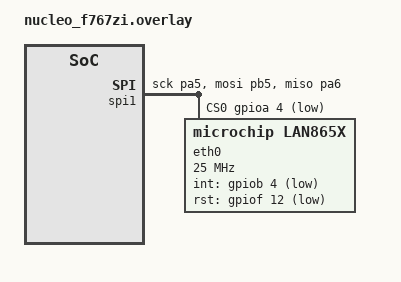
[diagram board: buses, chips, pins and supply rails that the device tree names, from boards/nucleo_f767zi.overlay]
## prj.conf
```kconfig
# Generic networking options
CONFIG_NETWORKING=y
CONFIG_NET_UDP=y
CONFIG_NET_TCP=y
CONFIG_NET_IPV6=y
CONFIG_NET_IPV4=y
CONFIG_NET_SOCKETS=y
CONFIG_ZVFS_POLL_MAX=5
CONFIG_NET_CONNECTION_MANAGER=y

CONFIG_POSIX_API=y

# Kernel options
CONFIG_MAIN_STACK_SIZE=2048
CONFIG_ENTROPY_GENERATOR=y
CONFIG_TEST_RANDOM_GENERATOR=y
CONFIG_INIT_STACKS=y
CONFIG_MAX_THREAD_BYTES=3

# Logging
CONFIG_NET_LOG=y
CONFIG_LOG=y
CONFIG_NET_STATISTICS=y
CONFIG_PRINTK=y

# Network buffers
CONFIG_NET_PKT_RX_COUNT=16
CONFIG_NET_PKT_TX_COUNT=16
CONFIG_NET_BUF_RX_COUNT=80
CONFIG_NET_BUF_TX_COUNT=80
CONFIG_NET_CONTEXT_NET_PKT_POOL=y

# IP address options
CONFIG_NET_IF_UNICAST_IPV6_ADDR_COUNT=3
CONFIG_NET_IF_MCAST_IPV6_ADDR_COUNT=4
CONFIG_NET_MAX_CONTEXTS=10
CONFIG_NET_IF_MAX_IPV6_COUNT=3
CONFIG_NET_IF_MAX_IPV4_COUNT=3

# Network shell
CONFIG_NET_SHELL=y

# The addresses are selected so that qemu<->qemu connectivity works ok.
# For linux<->qemu connectivity, create a new conf file and swap the
# addresses (so that peer address is ending to 2).
CONFIG_NET_CONFIG_SETTINGS=y
CONFIG_NET_CONFIG_NEED_IPV6=y
CONFIG_NET_CONFIG_MY_IPV6_ADDR="2001:db8::2"
CONFIG_NET_CONFIG_PEER_IPV6_ADDR="2001:db8::1"
CONFIG_NET_CONFIG_NEED_IPV4=y
CONFIG_NET_CONFIG_MY_IPV4_ADDR="192.0.2.2"
CONFIG_NET_CONFIG_PEER_IPV4_ADDR="192.0.2.1"
CONFIG_SYSTEM_WORKQUEUE_STACK_SIZE=2048
```

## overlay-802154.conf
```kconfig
CONFIG_BT=n

# Disable TCP and IPv4 (TCP disabled to avoid heavy traffic)
CONFIG_NET_TCP=y
CONFIG_NET_IPV4=y

CONFIG_NET_CONFIG_NEED_IPV6=n
CONFIG_NET_CONFIG_NEED_IPV4=y
CONFIG_NET_CONFIG_MY_IPV4_ADDR="192.168.3.3"
CONFIG_NET_CONFIG_PEER_IPV4_ADDR="192.168.3.1"
CONFIG_NET_CONFIG_MY_IPV6_ADDR=""
CONFIG_NET_CONFIG_PEER_IPV6_ADDR=""

CONFIG_NET_L2_IEEE802154=y
CONFIG_NET_L2_IEEE802154_SHELL=y
CONFIG_NET_L2_IEEE802154_LOG_LEVEL_INF=y

CONFIG_NET_CONFIG_IEEE802154_CHANNEL=26
```

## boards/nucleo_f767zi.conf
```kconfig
# Generic networking options
CONFIG_NETWORKING=y
CONFIG_NET_UDP=n
CONFIG_NET_TCP=y
CONFIG_NET_IPV6=n
CONFIG_NET_IPV4=y
CONFIG_NET_SOCKETS=y
CONFIG_POSIX_API=y
CONFIG_NET_CONNECTION_MANAGER=y

# Kernel options
CONFIG_MAIN_STACK_SIZE=2048
CONFIG_ENTROPY_GENERATOR=y
CONFIG_TEST_RANDOM_GENERATOR=y
CONFIG_INIT_STACKS=y

# Logging
CONFIG_NET_LOG=y
CONFIG_LOG=y
CONFIG_NET_STATISTICS=y
CONFIG_PRINTK=y

# Network buffers
CONFIG_NET_PKT_RX_COUNT=4
CONFIG_NET_PKT_TX_COUNT=4
CONFIG_NET_BUF_RX_COUNT=32
CONFIG_NET_BUF_TX_COUNT=32
CONFIG_NET_CONTEXT_NET_PKT_POOL=y

# IP address options
# CONFIG_NET_MAX_CONTEXTS=2
# CONFIG_NET_MAX_CONN=2

# Network shell
CONFIG_SERIAL=y
CONFIG_SHELL=y
CONFIG_SHELL_BACKEND_SERIAL=y
CONFIG_NET_SHELL=y

# Network application options and configuration
CONFIG_NET_CONFIG_SETTINGS=y
CONFIG_NET_CONFIG_NEED_IPV4=y
CONFIG_NET_CONFIG_NEED_IPV6=n
CONFIG_NET_CONFIG_MY_IPV4_NETMASK="255.255.255.0"
CONFIG_NET_CONFIG_MY_IPV4_ADDR="192.0.2.2"
CONFIG_NET_CONFIG_PEER_IPV4_ADDR="192.0.2.1"
CONFIG_NET_CONFIG_AUTO_INIT=y

# LAN865x T1S driver specific
CONFIG_NET_L2_ETHERNET=y
# CONFIG_NET_PROMISCUOUS_MODE=y
CONFIG_ETH_LAN865X=y
# CONFIG_ETH_LAN865X_LOG_LEVEL=4
CONFIG_NET_BUF_DATA_SIZE=128

# Debug options
CONFIG_DEBUG_THREAD_INFO=y
```

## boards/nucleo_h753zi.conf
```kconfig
# # Generic networking options
# CONFIG_NETWORKING=y
# CONFIG_NET_UDP=y
# CONFIG_NET_TCP=y
# CONFIG_NET_IPV6=n
# CONFIG_NET_IPV4=y
# CONFIG_NET_DHCPV4=y
# CONFIG_NET_SOCKETS=y
# CONFIG_NET_CONNECTION_MANAGER=y

# # Kernel options
# CONFIG_MAIN_STACK_SIZE=2048
# CONFIG_ENTROPY_GENERATOR=y
# CONFIG_TEST_RANDOM_GENERATOR=y
# CONFIG_INIT_STACKS=y

# # Logging
# CONFIG_NET_LOG=y
# CONFIG_LOG=y
# CONFIG_NET_STATISTICS=y

# # Network buffers
# CONFIG_NET_PKT_RX_COUNT=4
# CONFIG_NET_PKT_TX_COUNT=4
# CONFIG_NET_BUF_RX_COUNT=32
# CONFIG_NET_BUF_TX_COUNT=32
# CONFIG_NET_CONTEXT_NET_PKT_POOL=y

# # IP address options
# CONFIG_NET_MAX_CONTEXTS=2
# CONFIG_NET_MAX_CONN=2

# # Network shell
# CONFIG_NET_SHELL=n
# CONFIG_SHELL=n

# # Network application options and configuration
# CONFIG_NET_CONFIG_SETTINGS=y
# CONFIG_NET_CONFIG_NEED_IPV4=y
# CONFIG_NET_CONFIG_MY_IPV4_ADDR="192.168.3.3"
# CONFIG_NET_CONFIG_PEER_IPV4_ADDR="192.168.3.1"

# CONFIG_SPI=y
# CONFIG_GPIO=y
# CONFIG_MDIO=y

# # LAN865x T1S driver specific
# CONFIG_NET_L2_ETHERNET=y
# # CONFIG_NET_PROMISCUOUS_MODE=y
# CONFIG_ETH_LAN865X=y
# CONFIG_MDIO_LAN865X=y
# CONFIG_NET_BUF_DATA_SIZE=64


# # For setting MAC address
# CONFIG_NET_L2_ETHERNET_MGMT=y

# # Debug options
# CONFIG_DEBUG_THREAD_INFO=y

# Generic networking options
CONFIG_NETWORKING=y
CONFIG_NET_UDP=y
CONFIG_NET_TCP=y
CONFIG_NET_IPV6=n
CONFIG_NET_IPV4=y
CONFIG_NET_SOCKETS=y
CONFIG_POSIX_API=y
CONFIG_NET_CONNECTION_MANAGER=y

# Kernel options
CONFIG_MAIN_STACK_SIZE=2048
CONFIG_ENTROPY_GENERATOR=y
CONFIG_TEST_RANDOM_GENERATOR=y
CONFIG_INIT_STACKS=y

# Logging
CONFIG_NET_LOG=y
CONFIG_LOG=y
CONFIG_NET_STATISTICS=y
CONFIG_PRINTK=y

# Network buffers
CONFIG_NET_PKT_RX_COUNT=4
CONFIG_NET_PKT_TX_COUNT=4
CONFIG_NET_BUF_RX_COUNT=32
CONFIG_NET_BUF_TX_COUNT=32
CONFIG_NET_CONTEXT_NET_PKT_POOL=y

# IP address options
CONFIG_NET_IF_UNICAST_IPV6_ADDR_COUNT=3
CONFIG_NET_IF_MCAST_IPV6_ADDR_COUNT=4
CONFIG_NET_MAX_CONTEXTS=10

# Network shell
CONFIG_SERIAL=y
CONFIG_SHELL=y
CONFIG_SHELL_BACKEND_SERIAL=y
CONFIG_NET_SHELL=y

# Network application options and configuration
CONFIG_NET_CONFIG_SETTINGS=y
CONFIG_NET_CONFIG_NEED_IPV4=y
CONFIG_NET_CONFIG_MY_IPV4_ADDR="10.25.11.21"

# Number of socket descriptors might need adjusting
# if there are more than 1 handlers defined.
CONFIG_ZVFS_OPEN_MAX=12

# IP address options
CONFIG_NET_MAX_CONTEXTS=2
CONFIG_NET_MAX_CONN=2

# LAN865x T1S driver specific
CONFIG_NET_L2_ETHERNET=y
# CONFIG_NET_PROMISCUOUS_MODE=y
CONFIG_ETH_LAN865X=y
CONFIG_NET_BUF_DATA_SIZE=64

# Debug options
CONFIG_DEBUG_THREAD_INFO=y
```

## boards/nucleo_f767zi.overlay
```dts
/* Enable SPI1 & lower its address/size cells so we can add child nodes */
&spi1 {
    #address-cells = <1>;
    #size-cells    = <0>;
    status = "okay";
    /* CS on PD14 */
    cs-gpios      = <&gpioa 4 GPIO_ACTIVE_LOW>;
    pinctrl-0     = <&spi1_sck_pa5 &spi1_mosi_pb5 &spi1_miso_pa6>;
    pinctrl-names = "default";
    
    /* ---------- LAN865x MAC‑PHY ------------------------------------------ */
    eth0: lan865x@0 {
        compatible         = "microchip,lan865x";
        reg                = <0>;              /* CS# 0 on this SPI bus      */
        spi-max-frequency  = <25000000>;
        int-gpios          = <&gpiob 4 GPIO_ACTIVE_LOW>;
        rst-gpios          = <&gpiof 12 GPIO_ACTIVE_LOW>;
        local-mac-address  = [00 19 05 00 00 05];
        
        lan865x_mdio: lan865x_mdio {
            compatible = "microchip,lan865x-mdio";
            status = "okay";
            #address-cells = <1>;
            #size-cells = <0>;
            ethernet-phy@0 {
                compatible = "microchip,t1s-phy";
                reg = <0x0>;
                plca-enable;
                plca-node-id = <1>;
                plca-node-count = <2>;
                plca-burst-count = <4>;
                plca-burst-timer = <0>;
                plca-to-timer = <0x20>;
                status = "okay";
            };
        };
        
        status = "okay";        
    };
};

&{/soc/ethernet@40028000} {
    status = "disabled";
};

&{/soc/ethernet@40028000/ethernet} {
    status = "disabled";
};

&{/soc/ethernet@40028000/mdio} {
    status = "disabled";
};
&{/soc/ethernet@40028000/mdio/ethernet-phy@0}{
    status = "disabled";
};



&pinctrl {
    spi1_cs_pa4: spi1_cs_pa4 {
        pinmux = <STM32_PINMUX('A', 4, GPIO)>;   /* <-- GPIO, not AF5 */
        drive-push-pull;
        bias-pull-up;
        slew-rate = "very-high-speed";
    };

    spi1_sck_pa5 {
        pinmux    = <STM32_PINMUX('A', 5, AF5)>;
        bias-disable;
        drive-push-pull;
        slew-rate = "very-high-speed";
    };

    spi1_mosi_pb5 {
        pinmux    = <STM32_PINMUX('B', 5, AF5)>;
        bias-pull-down;
        drive-push-pull;
        slew-rate = "very-high-speed";
    };

    spi1_miso_pa6 {
        pinmux    = <STM32_PINMUX('A', 6, AF5)>;
        bias-pull-down;
        drive-push-pull;
        slew-rate = "very-high-speed";
    };
};
```

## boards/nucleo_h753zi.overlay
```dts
/* Enable SPI1 & lower its address/size cells so we can add child nodes */
&spi1 {
    #address-cells = <1>;
    #size-cells    = <0>;
    status = "okay";
    // /* CS on PD14 */
    // cs-gpios      = <&gpiod 14 GPIO_ACTIVE_LOW>;
    pinctrl-0     = <&spi1_sck_pa5 &spi1_mosi_pb5 &spi1_miso_pa6 &spi1_cs_pd14>;
    pinctrl-names = "default";

    /* ---------- LAN865x MAC‑PHY ------------------------------------------ */
    eth0: lan865x@0 {
        compatible         = "microchip,lan865x";
        reg                = <0>;              /* CS# 0 on this SPI bus      */
        spi-max-frequency  = <25000000>;
        int-gpios          = <&gpiob 4 GPIO_ACTIVE_LOW>;
        rst-gpios          = <&gpiof 3 GPIO_ACTIVE_LOW>;
        local-mac-address  = [00 19 05 00 00 05];

        tx-cut-through-mode;
        rx-cut-through-mode;
        
        lan865x_mdio: lan865x_mdio {
            compatible = "microchip,lan865x-mdio";
            status = "okay";
            #address-cells = <1>;
            #size-cells = <0>;
            ethernet-phy@0 {
                compatible = "microchip,t1s-phy";
                reg = <0x0>;
                plca-enable;
                plca-node-id = <1>;
                plca-node-count = <2>;
                plca-burst-count = <4>;
                plca-burst-timer = <0>;
                plca-to-timer = <0x20>;
                status = "okay";
            };
        };   
                
        status = "okay";        
    };
};

&{/soc/ethernet@40028000}{
    status = "disabled";
};
&{/soc/ethernet@40028000/ethernet}{
    status = "disabled";
};

&{/soc/ethernet@40028000/mdio}{
    status = "disabled";
};

&{/soc/ethernet@40028000/mdio/ethernet-phy@0}{
    status = "disabled";
};


&pinctrl {
    spi1_cs_pd14: spi1_cs_pd14 {
        pinmux = <STM32_PINMUX('D', 14, GPIO)>;   /* <-- GPIO, not AF5 */
        drive-push-pull;
        output-low;
        bias-pull-up;
        slew-rate = "very-high-speed";
    };

    spi1_sck_pa5 {
        pinmux    = <STM32_PINMUX('A', 5, AF5)>;
        bias-pull-down;
        drive-push-pull;
        slew-rate = "very-high-speed";
    };

    spi1_mosi_pb5 {
        pinmux    = <STM32_PINMUX('B', 5, AF5)>;
        bias-pull-down;
        drive-push-pull;
        slew-rate = "very-high-speed";
    };

    spi1_miso_pa6 {
        pinmux    = <STM32_PINMUX('A', 6, AF5)>;
        bias-pull-down;
        drive-push-pull;
        slew-rate = "very-high-speed";
    };
};
```

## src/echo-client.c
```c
/* echo-client.c - Networking echo client */

/*
 * Copyright (c) 2017 Intel Corporation.
 * Copyright (c) 2018 Nordic Semiconductor ASA.
 *
 * SPDX-License-Identifier: Apache-2.0
 */

/*
 * The echo-client application is acting as a client that is run in Zephyr OS,
 * and echo-server is run in the host acting as a server. The client will send
 * either unicast or multicast packets to the server which will reply the packet
 * back to the originator.
 *
 * In this sample application we create four threads that start to send data.
 * This might not be what you want to do in your app so caveat emptor.
 */

#include <zephyr/logging/log.h>
LOG_MODULE_REGISTER(net_echo_client_sample, LOG_LEVEL_DBG);

#include <zephyr/kernel.h>
#include <errno.h>
#include <stdio.h>

#include <zephyr/posix/sys/eventfd.h>

#include <zephyr/misc/lorem_ipsum.h>
#include <zephyr/net/socket.h>
#include <zephyr/net/tls_credentials.h>
#include <zephyr/net/net_if.h>
#include <zephyr/net/net_mgmt.h>
#include <zephyr/net/net_event.h>
#include <zephyr/net/conn_mgr_monitor.h>
#include <zephyr/net/ethernet.h>
#include <zephyr/net/ethernet_mgmt.h>

#if defined(CONFIG_USERSPACE)
#include <zephyr/app_memory/app_memdomain.h>
K_APPMEM_PARTITION_DEFINE(app_partition);
struct k_mem_domain app_domain;
#endif

#include "common.h"
#include "ca_certificate.h"

#define APP_BANNER "Run echo client"

#define INVALID_SOCK (-1)

#define EVENT_MASK (NET_EVENT_L4_CONNECTED | \
		    NET_EVENT_L4_DISCONNECTED)
#define IPV6_EVENT_MASK (NET_EVENT_IPV6_ADDR_ADD | \
			 NET_EVENT_IPV6_ADDR_DEPRECATED)

const char lorem_ipsum[] = LOREM_IPSUM;

const int ipsum_len = sizeof(lorem_ipsum) - 1;

APP_DMEM struct configs conf = {
	.ipv4 = {
		.proto = "IPv4",
		.udp.sock = INVALID_SOCK,
		.tcp.sock = INVALID_SOCK,
	},
	.ipv6 = {
		.proto = "IPv6",
		.udp.sock = INVALID_SOCK,
		.tcp.sock = INVALID_SOCK,
	},
};

static APP_BMEM struct pollfd fds[1 + 4];
static APP_BMEM int nfds;

static APP_BMEM bool connected;
static APP_BMEM bool need_restart;

K_SEM_DEFINE(run_app, 0, 1);

static struct net_mgmt_event_callback mgmt_cb;
static struct net_mgmt_event_callback ipv6_mgmt_cb;

static void prepare_fds(void)
{
	nfds = 0;

	/* eventfd is used to trigger restart */
	fds[nfds].fd = eventfd(0, 0);
	fds[nfds].events = POLLIN;
	nfds++;

	if (conf.ipv4.udp.sock >= 0) {
		fds[nfds].fd = conf.ipv4.udp.sock;
		fds[nfds].events = POLLIN;
		nfds++;
	}

	if (conf.ipv4.tcp.sock >= 0) {
		fds[nfds].fd = conf.ipv4.tcp.sock;
		fds[nfds].events = POLLIN;
		nfds++;
	}

	if (conf.ipv6.udp.sock >= 0) {
		fds[nfds].fd = conf.ipv6.udp.sock;
		fds[nfds].events = POLLIN;
		nfds++;
	}

	if (conf.ipv6.tcp.sock >= 0) {
		fds[nfds].fd = conf.ipv6.tcp.sock;
		fds[nfds].events = POLLIN;
		nfds++;
	}
}

static void wait(void)
{
	int ret;

	/* Wait for event on any socket used. Once event occurs,
	 * we'll check them all.
	 */
	ret = poll(fds, nfds, -1);
	if (ret < 0) {
		static bool once;

		if (!once) {
			once = true;
			LOG_ERR("Error in poll:%d", errno);
		}

		return;
	}

	if (ret > 0 && fds[0].revents) {
		eventfd_t value;

		eventfd_read(fds[0].fd, &value);
		LOG_DBG("Received restart event.");
		return;
	}
}

static int start_udp_and_tcp(void)
{
	int ret;

	LOG_INF("Starting...");

	if (IS_ENABLED(CONFIG_NET_TCP)) {
		ret = start_tcp();
		if (ret < 0) {
			return ret;
		}
	}

	if (IS_ENABLED(CONFIG_NET_UDP)) {
		ret = start_udp();
		if (ret < 0) {
			return ret;
		}
	}

	prepare_fds();

	return 0;
}

static int run_udp_and_tcp(void)
{
	int ret;

	wait();

	if (IS_ENABLED(CONFIG_NET_TCP)) {
		ret = process_tcp();
		if (ret < 0) {
			return ret;
		}
	}

	if (IS_ENABLED(CONFIG_NET_UDP)) {
		ret = process_udp();
		if (ret < 0) {
			return ret;
		}
	}

	return 0;
}

static void stop_udp_and_tcp(void)
{
	LOG_INF("Stopping...");

	if (IS_ENABLED(CONFIG_NET_UDP)) {
		stop_udp();
	}

	if (IS_ENABLED(CONFIG_NET_TCP)) {
		stop_tcp();
	}
}

static int check_our_ipv6_sockets(int sock,
				  struct in6_addr *deprecated_addr)
{
	struct sockaddr_in6 addr = { 0 };
	socklen_t addrlen = sizeof(addr);
	int ret;

	if (sock < 0) {
		return -EINVAL;
	}

	ret = getsockname(sock, (struct sockaddr *)&addr, &addrlen);
	if (ret != 0) {
		return -errno;
	}

	if (!net_ipv6_addr_cmp(deprecated_addr, &addr.sin6_addr)) {
		return -ENOENT;
	}

	need_restart = true;

	return 0;
}

static void ipv6_event_handler(struct net_mgmt_event_callback *cb,
			       uint64_t mgmt_event, struct net_if *iface)
{
	static char addr_str[INET6_ADDRSTRLEN];

	if (!IS_ENABLED(CONFIG_NET_IPV6_PE)) {
		return;
	}

	if ((mgmt_event & IPV6_EVENT_MASK) != mgmt_event) {
		return;
	}

	if (cb->info == NULL ||
	    cb->info_length != sizeof(struct in6_addr)) {
		return;
	}

	if (mgmt_event == NET_EVENT_IPV6_ADDR_ADD) {
		struct net_if_addr *ifaddr;
		struct in6_addr added_addr;

		memcpy(&added_addr, cb->info, sizeof(struct in6_addr));

		ifaddr = net_if_ipv6_addr_lookup(&added_addr, &iface);
		if (ifaddr == NULL) {
			return;
		}

		/* Wait until we get a temporary address before continuing after
		 * boot.
		 */
		if (ifaddr->is_temporary) {
			static bool once;

			LOG_INF("Temporary IPv6 address %s added",
				inet_ntop(AF_INET6, &added_addr, addr_str,
					  sizeof(addr_str) - 1));

			if (!once) {
				k_sem_give(&run_app);
				once = true;
			}
		}
	}

	if (mgmt_event == NET_EVENT_IPV6_ADDR_DEPRECATED) {
		struct in6_addr deprecated_addr;

		memcpy(&deprecated_addr, cb->info, sizeof(struct in6_addr));

		LOG_INF("IPv6 address %s deprecated",
			inet_ntop(AF_INET6, &deprecated_addr, addr_str,
				  sizeof(addr_str) - 1));

		(void)check_our_ipv6_sockets(conf.ipv6.tcp.sock,
					     &deprecated_addr);
		(void)check_our_ipv6_sockets(conf.ipv6.udp.sock,
					     &deprecated_addr);

		if (need_restart) {
			eventfd_write(fds[0].fd, 1);
		}

		return;
	}
}

static void event_handler(struct net_mgmt_event_callback *cb,
			  uint64_t mgmt_event, struct net_if *iface)
{
	if ((mgmt_event & EVENT_MASK) != mgmt_event) {
		return;
	}

	if (mgmt_event == NET_EVENT_L4_CONNECTED) {
		LOG_INF("Network connected");

		connected = true;
		conf.ipv4.udp.mtu = net_if_get_mtu(iface);
		conf.ipv6.udp.mtu = conf.ipv4.udp.mtu;

		if (!IS_ENABLED(CONFIG_NET_IPV6_PE)) {
			k_sem_give(&run_app);
		}

		return;
	}

	if (mgmt_event == NET_EVENT_L4_DISCONNECTED) {
		LOG_INF("Network disconnected");

		connected = false;
		k_sem_reset(&run_app);

		return;
	}
}

static const uint8_t mac_addr_change[6] = { 0xAA, 0xBB, 0xCC,
					 0x01,  0x02,  0x04 };
static int init_macaddr(void)
{
	struct ethernet_req_params params;
	struct net_if *iface = net_if_get_default();
	int ret;

	net_if_down(iface);
	memcpy(params.mac_address.addr, mac_addr_change, 6);

	ret = net_mgmt(NET_REQUEST_ETHERNET_SET_MAC_ADDRESS,
	               iface, &params,
	               sizeof(struct ethernet_req_params));
	net_if_up(iface);

	return ret;
}

static void init_app(void)
{
	LOG_INF(APP_BANNER);

#if defined(CONFIG_USERSPACE)
	struct k_mem_partition *parts[] = {
#if Z_LIBC_PARTITION_EXISTS
		&z_libc_partition,
#endif
		&app_partition
	};

	int ret = k_mem_domain_init(&app_domain, ARRAY_SIZE(parts), parts);

	__ASSERT(ret == 0, "k_mem_domain_init() failed %d", ret);
	ARG_UNUSED(ret);
#endif

#if defined(CONFIG_NET_SOCKETS_SOCKOPT_TLS)
	int err = tls_credential_add(CA_CERTIFICATE_TAG,
				    TLS_CREDENTIAL_CA_CERTIFICATE,
				    ca_certificate,
				    sizeof(ca_certificate));
	if (err < 0) {
		LOG_ERR("Failed to register public certificate: %d", err);
	}

#if defined(CONFIG_MBEDTLS_KEY_EXCHANGE_PSK_ENABLED)
	err = tls_credential_add(PSK_TAG,
				TLS_CREDENTIAL_PSK,
				psk,
				sizeof(psk));
	if (err < 0) {
		LOG_ERR("Failed to register PSK: %d", err);
	}
	err = tls_credential_add(PSK_TAG,
				TLS_CREDENTIAL_PSK_ID,
				psk_id,
				sizeof(psk_id) - 1);
	if (err < 0) {
		LOG_ERR("Failed to register PSK ID: %d", err);
	}
#endif /* defined(CONFIG_MBEDTLS_KEY_EXCHANGE_PSK_ENABLED) */
#endif /* defined(CONFIG_NET_SOCKETS_SOCKOPT_TLS) */


	if (IS_ENABLED(CONFIG_NET_CONNECTION_MANAGER)) {
		net_mgmt_init_event_callback(&mgmt_cb,
					     event_handler, EVENT_MASK);
		net_mgmt_add_event_callback(&mgmt_cb);

		conn_mgr_mon_resend_status();
	}

	net_mgmt_init_event_callback(&ipv6_mgmt_cb,
				     ipv6_event_handler, IPV6_EVENT_MASK);
	net_mgmt_add_event_callback(&ipv6_mgmt_cb);

	init_vlan();
	init_udp();
	init_macaddr();
}

static void start_client(void *p1, void *p2, void *p3)
{
	ARG_UNUSED(p1);
	ARG_UNUSED(p2);
	ARG_UNUSED(p3);

	int iterations = CONFIG_NET_SAMPLE_SEND_ITERATIONS;
	int i = 0;
	int ret;

	while (iterations == 0 || i < iterations) {
		/* Wait for the connection. */
		k_sem_take(&run_app, K_FOREVER);

		if (IS_ENABLED(CONFIG_NET_IPV6_PE)) {
			/* Make sure that we have a temporary address */
			k_sleep(K_SECONDS(1));
		}

		do {
			if (need_restart) {
				/* Close all sockets and get a fresh restart */
				stop_udp_and_tcp();
				need_restart = false;
			}

			ret = start_udp_and_tcp();

			while (connected && (ret == 0)) {
				ret = run_udp_and_tcp();

				if (iterations > 0) {
					i++;
					if (i >= iterations) {
						break;
					}
				}

				if (need_restart) {
					break;
				}
			}
		} while (need_restart);

		stop_udp_and_tcp();
	}
}

int main(void)
{
	init_app();

	if (!IS_ENABLED(CONFIG_NET_CONNECTION_MANAGER)) {
		/* If the config library has not been configured to start the
		 * app only after we have a connection, then we can start
		 * it right away.
		 */
		connected = true;
		k_sem_give(&run_app);
	}

	k_thread_priority_set(k_current_get(), THREAD_PRIORITY);

#if defined(CONFIG_USERSPACE)
	k_thread_access_grant(k_current_get(), &run_app);
	k_mem_domain_add_thread(&app_domain, k_current_get());

	k_thread_user_mode_enter(start_client, NULL, NULL, NULL);
#else
	start_client(NULL, NULL, NULL);
#endif
	return 0;
}
```

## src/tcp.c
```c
/* tcp.c - TCP specific code for echo client */

/*
 * Copyright (c) 2017 Intel Corporation.
 * Copyright (c) 2018 Nordic Semiconductor ASA.
 *
 * SPDX-License-Identifier: Apache-2.0
 */

#include <zephyr/logging/log.h>
LOG_MODULE_DECLARE(net_echo_client_sample, LOG_LEVEL_DBG);

#include <zephyr/kernel.h>
#include <errno.h>
#include <stdio.h>

#include <zephyr/net/socket.h>
#include <zephyr/net/tls_credentials.h>
#include <zephyr/random/random.h>

#include "common.h"
#include "ca_certificate.h"

#define RECV_BUF_SIZE 128

/* These proxy server addresses are only used when CONFIG_SOCKS
 * is enabled. To connect to a proxy server that is not running
 * under the same IP as the peer or uses a different port number,
 * modify the values.
 */
#define SOCKS5_PROXY_V6_ADDR CONFIG_NET_CONFIG_PEER_IPV6_ADDR
#define SOCKS5_PROXY_V4_ADDR CONFIG_NET_CONFIG_PEER_IPV4_ADDR
#define SOCKS5_PROXY_PORT 1080

static ssize_t sendall(int sock, const void *buf, size_t len)
{
	while (len) {
		ssize_t out_len = send(sock, buf, len, 0);

		if (out_len < 0) {
			return out_len;
		}
		buf = (const char *)buf + out_len;
		len -= out_len;
	}

	return 0;
}

static int send_tcp_data(struct sample_data *data)
{
	int ret;

	do {
		data->tcp.expecting = sys_rand32_get() % ipsum_len;
	} while (data->tcp.expecting == 0U);

	data->tcp.received = 0U;

	ret =  sendall(data->tcp.sock, lorem_ipsum, data->tcp.expecting);

	if (ret < 0) {
		LOG_ERR("%s TCP: Failed to send data, errno %d", data->proto,
			errno);
	} else {
		if (PRINT_PROGRESS) {
			LOG_DBG("%s TCP: Sent %d bytes", data->proto,
				data->tcp.expecting);
		}
	}

	return ret;
}

static int compare_tcp_data(struct sample_data *data, const char *buf, uint32_t received)
{
	if (data->tcp.received + received > data->tcp.expecting) {
		LOG_ERR("Too much data received: TCP %s", data->proto);
		return -EIO;
	}

	if (memcmp(buf, lorem_ipsum + data->tcp.received, received) != 0) {
		LOG_ERR("Invalid data received: TCP %s", data->proto);
		return -EIO;
	}

	return 0;
}

static int start_tcp_proto(struct sample_data *data, sa_family_t family,
			   struct sockaddr *addr, socklen_t addrlen)
{
	int optval;
	int ret;

#if defined(CONFIG_NET_SOCKETS_SOCKOPT_TLS)
	data->tcp.sock = socket(family, SOCK_STREAM, IPPROTO_TLS_1_2);
#else
	data->tcp.sock = socket(family, SOCK_STREAM, IPPROTO_TCP);
#endif
	if (data->tcp.sock < 0) {
		LOG_ERR("Failed to create TCP socket (%s): %d", data->proto,
			errno);
		return -errno;
	}

	LOG_INF("Socket : %d, Proto?: %s", data->tcp.sock, data->proto);

	if (IS_ENABLED(CONFIG_SOCKS)) {
		struct sockaddr proxy_addr;
		socklen_t proxy_addrlen;

		if (family == AF_INET) {
			struct sockaddr_in *proxy4 =
				(struct sockaddr_in *)&proxy_addr;

			proxy4->sin_family = AF_INET;
			proxy4->sin_port = htons(SOCKS5_PROXY_PORT);
			inet_pton(AF_INET, SOCKS5_PROXY_V4_ADDR,
				  &proxy4->sin_addr);
			proxy_addrlen = sizeof(struct sockaddr_in);
		} else if (family == AF_INET6) {
			struct sockaddr_in6 *proxy6 =
				(struct sockaddr_in6 *)&proxy_addr;

			proxy6->sin6_family = AF_INET6;
			proxy6->sin6_port = htons(SOCKS5_PROXY_PORT);
			inet_pton(AF_INET6, SOCKS5_PROXY_V6_ADDR,
				  &proxy6->sin6_addr);
			proxy_addrlen = sizeof(struct sockaddr_in6);
		} else {
			return -EINVAL;
		}

		ret = setsockopt(data->tcp.sock, SOL_SOCKET, SO_SOCKS5,
				 &proxy_addr, proxy_addrlen);
		if (ret < 0) {
			return ret;
		}
	}

#if defined(CONFIG_NET_SOCKETS_SOCKOPT_TLS)
	sec_tag_t sec_tag_list[] = {
		CA_CERTIFICATE_TAG,
#if defined(CONFIG_MBEDTLS_KEY_EXCHANGE_PSK_ENABLED)
		PSK_TAG,
#endif
	};

	ret = setsockopt(data->tcp.sock, SOL_TLS, TLS_SEC_TAG_LIST,
			 sec_tag_list, sizeof(sec_tag_list));
	if (ret < 0) {
		LOG_ERR("Failed to set TLS_SEC_TAG_LIST option (%s): %d",
			data->proto, errno);
		ret = -errno;
	}

	ret = setsockopt(data->tcp.sock, SOL_TLS, TLS_HOSTNAME,
			 TLS_PEER_HOSTNAME, sizeof(TLS_PEER_HOSTNAME));
	if (ret < 0) {
		LOG_ERR("Failed to set TLS_HOSTNAME option (%s): %d",
			data->proto, errno);
		ret = -errno;
	}
#endif

	/* Prefer IPv6 temporary addresses */
	if (family == AF_INET6) {
		optval = IPV6_PREFER_SRC_TMP;
		(void)setsockopt(data->tcp.sock, IPPROTO_IPV6,
				 IPV6_ADDR_PREFERENCES,
				 &optval, sizeof(optval));
	}

	ret = connect(data->tcp.sock, addr, addrlen);
	if (ret < 0) {
		LOG_ERR("Cannot connect to TCP remote (%s): %d", data->proto,
			errno);
		ret = -errno;
	}

	return ret;
}

static int process_tcp_proto(struct sample_data *data)
{
	int ret, received;
	char buf[RECV_BUF_SIZE];

	do {
		received = recv(data->tcp.sock, buf, sizeof(buf), MSG_DONTWAIT);

		/* No data or error. */
		if (received == 0) {
			ret = -EIO;
			continue;
		} else if (received < 0) {
			if (errno == EAGAIN || errno == EWOULDBLOCK) {
				ret = 0;
			} else {
				ret = -errno;
			}
			continue;
		}

		ret = compare_tcp_data(data, buf, received);
		if (ret != 0) {
			break;
		}

		/* Successful comparison. */
		data->tcp.received += received;
		if (data->tcp.received < data->tcp.expecting) {
			continue;
		}

		if (PRINT_PROGRESS) {
			/* Response complete */
			LOG_DBG("%s TCP: Received and compared %d bytes, all ok",
				data->proto, data->tcp.received);
		}

		if (++data->tcp.counter % 1000 == 0U) {
			LOG_INF("%s TCP: Exchanged %u packets", data->proto,
				data->tcp.counter);
		}

		ret = send_tcp_data(data);
		break;
	} while (received > 0);

	return ret;
}

int start_tcp(void)
{
	int ret = 0;
	struct sockaddr_in addr4;
	struct sockaddr_in6 addr6;

	if (IS_ENABLED(CONFIG_NET_IPV6)) {
		addr6.sin6_family = AF_INET6;
		addr6.sin6_port = htons(PEER_PORT);
		inet_pton(AF_INET6, CONFIG_NET_CONFIG_PEER_IPV6_ADDR,
			  &addr6.sin6_addr);

		ret = start_tcp_proto(&conf.ipv6, AF_INET6,
				      (struct sockaddr *)&addr6,
				      sizeof(addr6));
		if (ret < 0) {
			return ret;
		}
	}

	if (IS_ENABLED(CONFIG_NET_IPV4)) {
		addr4.sin_family = AF_INET;
		addr4.sin_port = htons(PEER_PORT);
		inet_pton(AF_INET, CONFIG_NET_CONFIG_PEER_IPV4_ADDR,
			  &addr4.sin_addr);

		ret = start_tcp_proto(&conf.ipv4, AF_INET,
				      (struct sockaddr *)&addr4,
				      sizeof(addr4));
		if (ret < 0) {
			return ret;
		}
	}

	if (IS_ENABLED(CONFIG_NET_IPV6)) {
		ret = send_tcp_data(&conf.ipv6);
		if (ret < 0) {
			return ret;
		}
	}

	if (IS_ENABLED(CONFIG_NET_IPV4)) {
		ret = send_tcp_data(&conf.ipv4);
	}

	return ret;
}

int process_tcp(void)
{
	int ret = 0;

	if (IS_ENABLED(CONFIG_NET_IPV6)) {
		ret = process_tcp_proto(&conf.ipv6);
		if (ret < 0) {
			return ret;
		}
	}

	if (IS_ENABLED(CONFIG_NET_IPV4)) {
		ret = process_tcp_proto(&conf.ipv4);
		if (ret < 0) {
			return ret;
		}
	}

	return ret;
}

void stop_tcp(void)
{
	if (IS_ENABLED(CONFIG_NET_IPV6)) {
		if (conf.ipv6.tcp.sock >= 0) {
			(void)close(conf.ipv6.tcp.sock);
		}
	}

	if (IS_ENABLED(CONFIG_NET_IPV4)) {
		if (conf.ipv4.tcp.sock >= 0) {
			(void)close(conf.ipv4.tcp.sock);
		}
	}
}
```
